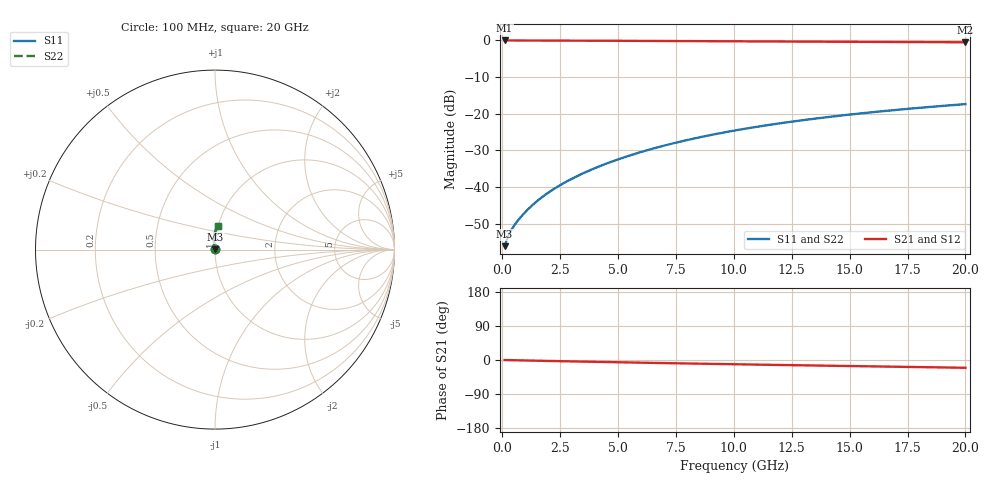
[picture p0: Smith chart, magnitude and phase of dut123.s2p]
! Touchstone file exported from HFSS 2024.1.0
!  File:  C:/UserFiles/LocalFiles/RDL_TSV_Batchsim/temp_RDL_bottom_123_1778696120.aedt
!  Generated:  02:17:34 AM May 14, 2026
!  Design:  RDL_bottom
!  Project:  temp_RDL_bottom_123_1778696120
!  Setup:  Setup1
!  Solution:  Sweep
! Variables:
!  dtsv = 10.80580581um
!  hbump = 3um
!  htsv = 98.36um
!  ldown = 336.32um
!  lrdl = 100um
!  p = 40
!  p1 = 40.29um
!  rhole = 1um
!  t = 450um
!  tdown = 3.61um
!  trdl = 3.915915916um
!  wdown = 28.33um
!  wrdl = 20um
# GHz S MA R 50.000000
! Terminal data exported
! Port[1] = RDL1_T1
! Port[2] = RDL1_T2
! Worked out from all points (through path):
!   200 points, 100 MHz to 20 GHz, reference 50 ohm
!   highest |S21| = -0.01 dB at 100 MHz (marker M1); lowest = -0.5 dB at 20 GHz (marker M2)
!   group delay of S21, straight-line fit = 2.81 ps
!   lowest |S11| = -56.2 dB at 100 MHz (marker M3), VSWR 1.00, Z = 50.1 + j0.06 ohm
!   |S11| at or under -10 dB: start of sweep to end of sweep
!   |S22| runs from -56.2 to -17.4 dB; largest |S21 - S12| = 5e-15
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0.1  0.001553 22.7  0.9986 -0.1  0.9986 -0.1  0.001553 22.7
! Gamma 0 0 0 0
! Port Impedance 50 0 50 0
0.2  0.001916 35.4  0.9984 -0.3  0.9984 -0.3  0.001916 35.4
0.3  0.002279 42.6  0.9982 -0.4  0.9982 -0.4  0.002279 42.6
0.4  0.002612 47.7  0.9981 -0.5  0.9981 -0.5  0.002612 47.7
0.5  0.002928 52.0  0.998 -0.6  0.998 -0.6  0.002928 52.0
0.8  0.003885 62.4  0.9977 -1.0  0.9977 -1.0  0.003885 62.4
1.2  0.005274 71.9  0.9972 -1.5  0.9972 -1.5  0.005274 71.9
1.7  0.007186 79.6  0.9965 -2.1  0.9965 -2.1  0.007186 79.6
2.2  0.009263 84.9  0.9956 -2.7  0.9956 -2.7  0.009263 84.9
2.8  0.01196 89.3  0.9943 -3.5  0.9943 -3.5  0.01196 89.3
3.5  0.0154 92.8  0.9924 -4.3  0.9924 -4.3  0.0154 92.9
4.2  0.01914 95.2  0.9903 -5.1  0.9903 -5.1  0.01914 95.3
5  0.02376 97.0  0.9877 -6.0  0.9877 -6.0  0.02377 97.0
5.9  0.02938 98.0  0.9846 -7.0  0.9846 -7.0  0.02938 98.0
6.8  0.03536 98.3  0.9814 -8.0  0.9814 -8.0  0.03536 98.3
8.4  0.04669 97.7  0.9757 -9.6  0.9757 -9.6  0.04669 97.8
10.1  0.05937 96.2  0.97 -11.3  0.97 -11.3  0.05938 96.2
11.7  0.07163 94.3  0.965 -12.9  0.965 -12.9  0.07165 94.3
13.4  0.08479 92.0  0.96 -14.5  0.96 -14.5  0.08481 92.0
15  0.09716 89.8  0.9557 -16.0  0.9557 -16.0  0.09718 89.8
16.7  0.1102 87.4  0.9513 -17.5  0.9513 -17.5  0.1102 87.5
20  0.135 83.0  0.9435 -20.6  0.9435 -20.6  0.135 83.0
